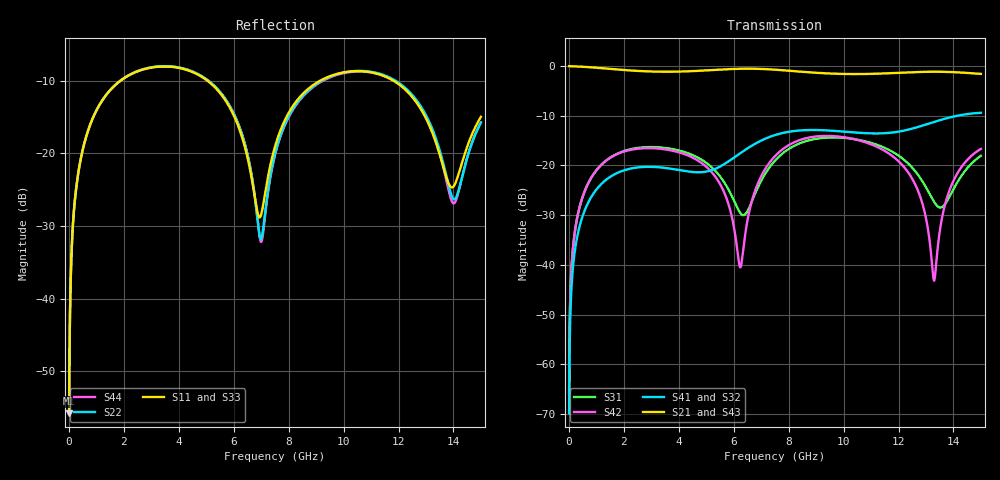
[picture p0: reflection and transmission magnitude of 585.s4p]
! Created with skrf 1.8.0 (http://scikit-rf.org).
# GHz S RI R 50.0
!freq ReS11 ImS11 ReS12 ImS12 ReS13 ImS13
! ReS14 ImS14
! ReS21 ImS21 ReS22 ImS22 ReS23 ImS23
! ReS24 ImS24
! ReS31 ImS31 ReS32 ImS32 ReS33 ImS33
! ReS34 ImS34
! ReS41 ImS41 ReS42 ImS42 ReS43 ImS43
! ReS44 ImS44
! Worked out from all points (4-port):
!   2499 points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, 5 MHz to 15 GHz, reference 50 ohm
!   strongest paths, dB at 5 MHz, 3.476 GHz, 7.19 GHz, 11.1 GHz, 15 GHz:
!     S21: 0.0, -1.1, -0.6, -1.5, -1.6
!     S43: 0.0, -1.1, -0.6, -1.5, -1.6
!     S41: -69.9, -20.5, -14.5, -13.5, -9.4
!     S32: -69.9, -20.5, -14.5, -13.6, -9.4
!     S42: -65.9, -16.7, -20.3, -16.0, -16.6
!     S31: -65.9, -16.4, -21.3, -15.6, -18.0
!   lowest |S11| = -55.8 dB at 5 MHz (marker M1), VSWR 1.00, Z = 50.1 + j0.0987 ohm
!   |S11| at or under -10 dB: start of sweep to 1.884 GHz; 5.033 GHz to 9.153 GHz (4.12 GHz wide, 58.1 % of centre); 11.81 GHz to end of sweep
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0.005  0.00129 0.000984  0.9987 -0.00252  6.36e-05 0.0005  -6.18e-05 -0.000315
       0.9987 -0.00252  0.00129 0.000984  -6.18e-05 -0.000315  6.35e-05 0.0005
       6.36e-05 0.0005  -6.18e-05 -0.000315  0.00129 0.000984  0.9987 -0.00252
       -6.18e-05 -0.000315  6.35e-05 0.0005  0.9987 -0.00252  0.00129 0.000984
0.4126719  0.0245 0.0846  0.9661 -0.2057  0.0117 0.039  -0.00949 -0.0242
           0.9661 -0.2057  0.0245 0.0846  -0.00949 -0.0242  0.0112 0.0391
           0.0117 0.039  -0.00949 -0.0242  0.0245 0.0847  0.9661 -0.2057
           -0.00949 -0.0242  0.0112 0.0391  0.9661 -0.2057  0.0245 0.0846
1.925802  0.2623 0.1839  0.565 -0.7224  0.125 0.0578  -0.0874 -0.00877
          0.565 -0.7224  0.2642 0.1827  -0.0874 -0.00879  0.1193 0.0652
          0.125 0.0578  -0.0874 -0.00879  0.2624 0.1839  0.565 -0.7224
          -0.0874 -0.00877  0.1193 0.0652  0.565 -0.7224  0.2642 0.1828
6.927887  0.036 -0.00427  -0.9358 -0.0693  -0.0183 0.0616  -0.00877 0.1739
          -0.9358 -0.0693  0.0252 -0.0126  -0.00898 0.1738  0.0213 0.0677
          -0.0183 0.0616  -0.00898 0.1738  0.0374 -0.00569  -0.9357 -0.0699
          -0.00877 0.1739  0.0213 0.0677  -0.9357 -0.0699  0.024 -0.0142
11.37974  0.3274 -0.1082  0.2083 0.8154  0.1036 -0.1159  0.1822 -0.1056
          0.2083 0.8154  0.3314 -0.1111  0.1823 -0.1044  0.1107 -0.0957
          0.1036 -0.1159  0.1823 -0.1044  0.3235 -0.1087  0.2094 0.8167
          0.1822 -0.1056  0.1107 -0.0957  0.2094 0.8167  0.3276 -0.1091
13.29929  0.0854 -0.0953  0.7882 0.3876  -0.0386 -0.0189  0.1134 -0.2502
          0.7882 0.3876  0.0813 -0.1095  0.1145 -0.2495  -0.00693 0.000406
          -0.0386 -0.0189  0.1145 -0.2495  0.084 -0.0911  0.7896 0.386
          0.1134 -0.2502  -0.00693 0.000406  0.7896 0.386  0.0778 -0.1058
15  0.131 0.1206  0.7883 -0.276  0.0909 0.0863  -0.1424 -0.3077
    0.7883 -0.276  0.114 0.1155  -0.1408 -0.3078  0.1195 0.0858
    0.0909 0.0863  -0.1408 -0.3078  0.1349 0.1217  0.7874 -0.2773
    -0.1424 -0.3077  0.1195 0.0858  0.7874 -0.2773  0.1114 0.1189
